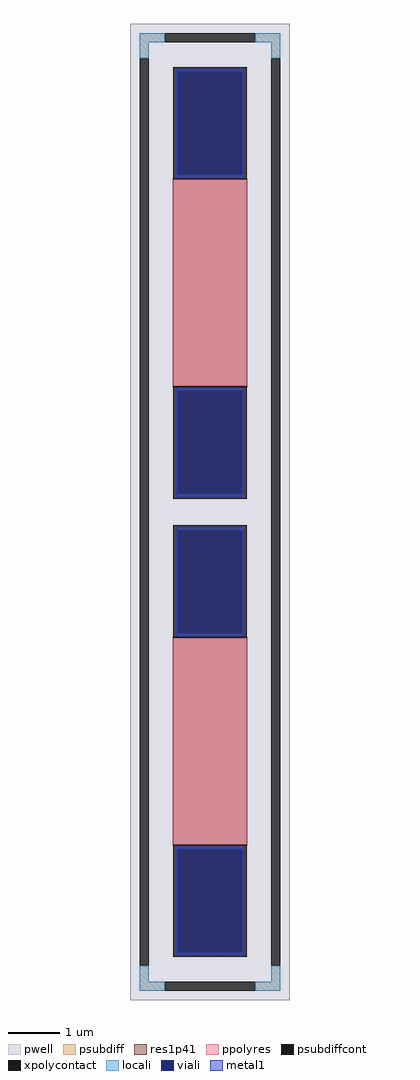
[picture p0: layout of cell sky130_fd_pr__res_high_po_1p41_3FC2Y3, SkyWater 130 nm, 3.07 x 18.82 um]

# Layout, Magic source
magic
tech sky130A
magscale 1 2
<< pwell >>
rect -307 -1882 307 1882
<< psubdiff >>
rect -271 1812 -175 1846
rect 175 1812 271 1846
rect -271 1750 -237 1812
rect 237 1750 271 1812
rect -271 -1812 -237 -1750
rect 237 -1812 271 -1750
rect -271 -1846 -175 -1812
rect 175 -1846 271 -1812
<< psubdiffcont >>
rect -175 1812 175 1846
rect -271 -1750 -237 1750
rect 237 -1750 271 1750
rect -175 -1846 175 -1812
<< xpolycontact >>
rect -141 1284 141 1716
rect -141 52 141 484
rect -141 -484 141 -52
rect -141 -1716 141 -1284
<< ppolyres >>
rect -141 484 141 1284
rect -141 -1284 141 -484
<< locali >>
rect -271 1812 -175 1846
rect 175 1812 271 1846
rect -271 1750 -237 1812
rect 237 1750 271 1812
rect -271 -1812 -237 -1750
rect 237 -1812 271 -1750
rect -271 -1846 -175 -1812
rect 175 -1846 271 -1812
<< viali >>
rect -125 1301 125 1698
rect -125 70 125 467
rect -125 -467 125 -70
rect -125 -1698 125 -1301
<< metal1 >>
rect -131 1698 131 1710
rect -131 1301 -125 1698
rect 125 1301 131 1698
rect -131 1289 131 1301
rect -131 467 131 479
rect -131 70 -125 467
rect 125 70 131 467
rect -131 58 131 70
rect -131 -70 131 -58
rect -131 -467 -125 -70
rect 125 -467 131 -70
rect -131 -479 131 -467
rect -131 -1301 131 -1289
rect -131 -1698 -125 -1301
rect 125 -1698 131 -1301
rect -131 -1710 131 -1698
<< res1p41 >>
rect -143 482 143 1286
rect -143 -1286 143 -482
<< properties >>
string FIXED_BBOX -254 -1829 254 1829
string gencell sky130_fd_pr__res_high_po_1p41
string library sky130
string parameters w 1.410 l 4.0 m 2 nx 1 wmin 1.410 lmin 0.50 rho 319.8 val 1.183k dummy 0 dw 0.0 term 194.82 sterm 0.0 caplen 0 guard 1 glc 1 grc 1 gtc 1 gbc 1 compatible {sky130_fd_pr__res_high_po_0p35  sky130_fd_pr__res_high_po_0p69 sky130_fd_pr__res_high_po_1p41  sky130_fd_pr__res_high_po_2p85 sky130_fd_pr__res_high_po_5p73} snake 0 full_metal 1 wmax 1.410 n_guard 0 hv_guard 0 vias 1 viagb 0 viagt 0 viagl 0 viagr 0
<< end >>
